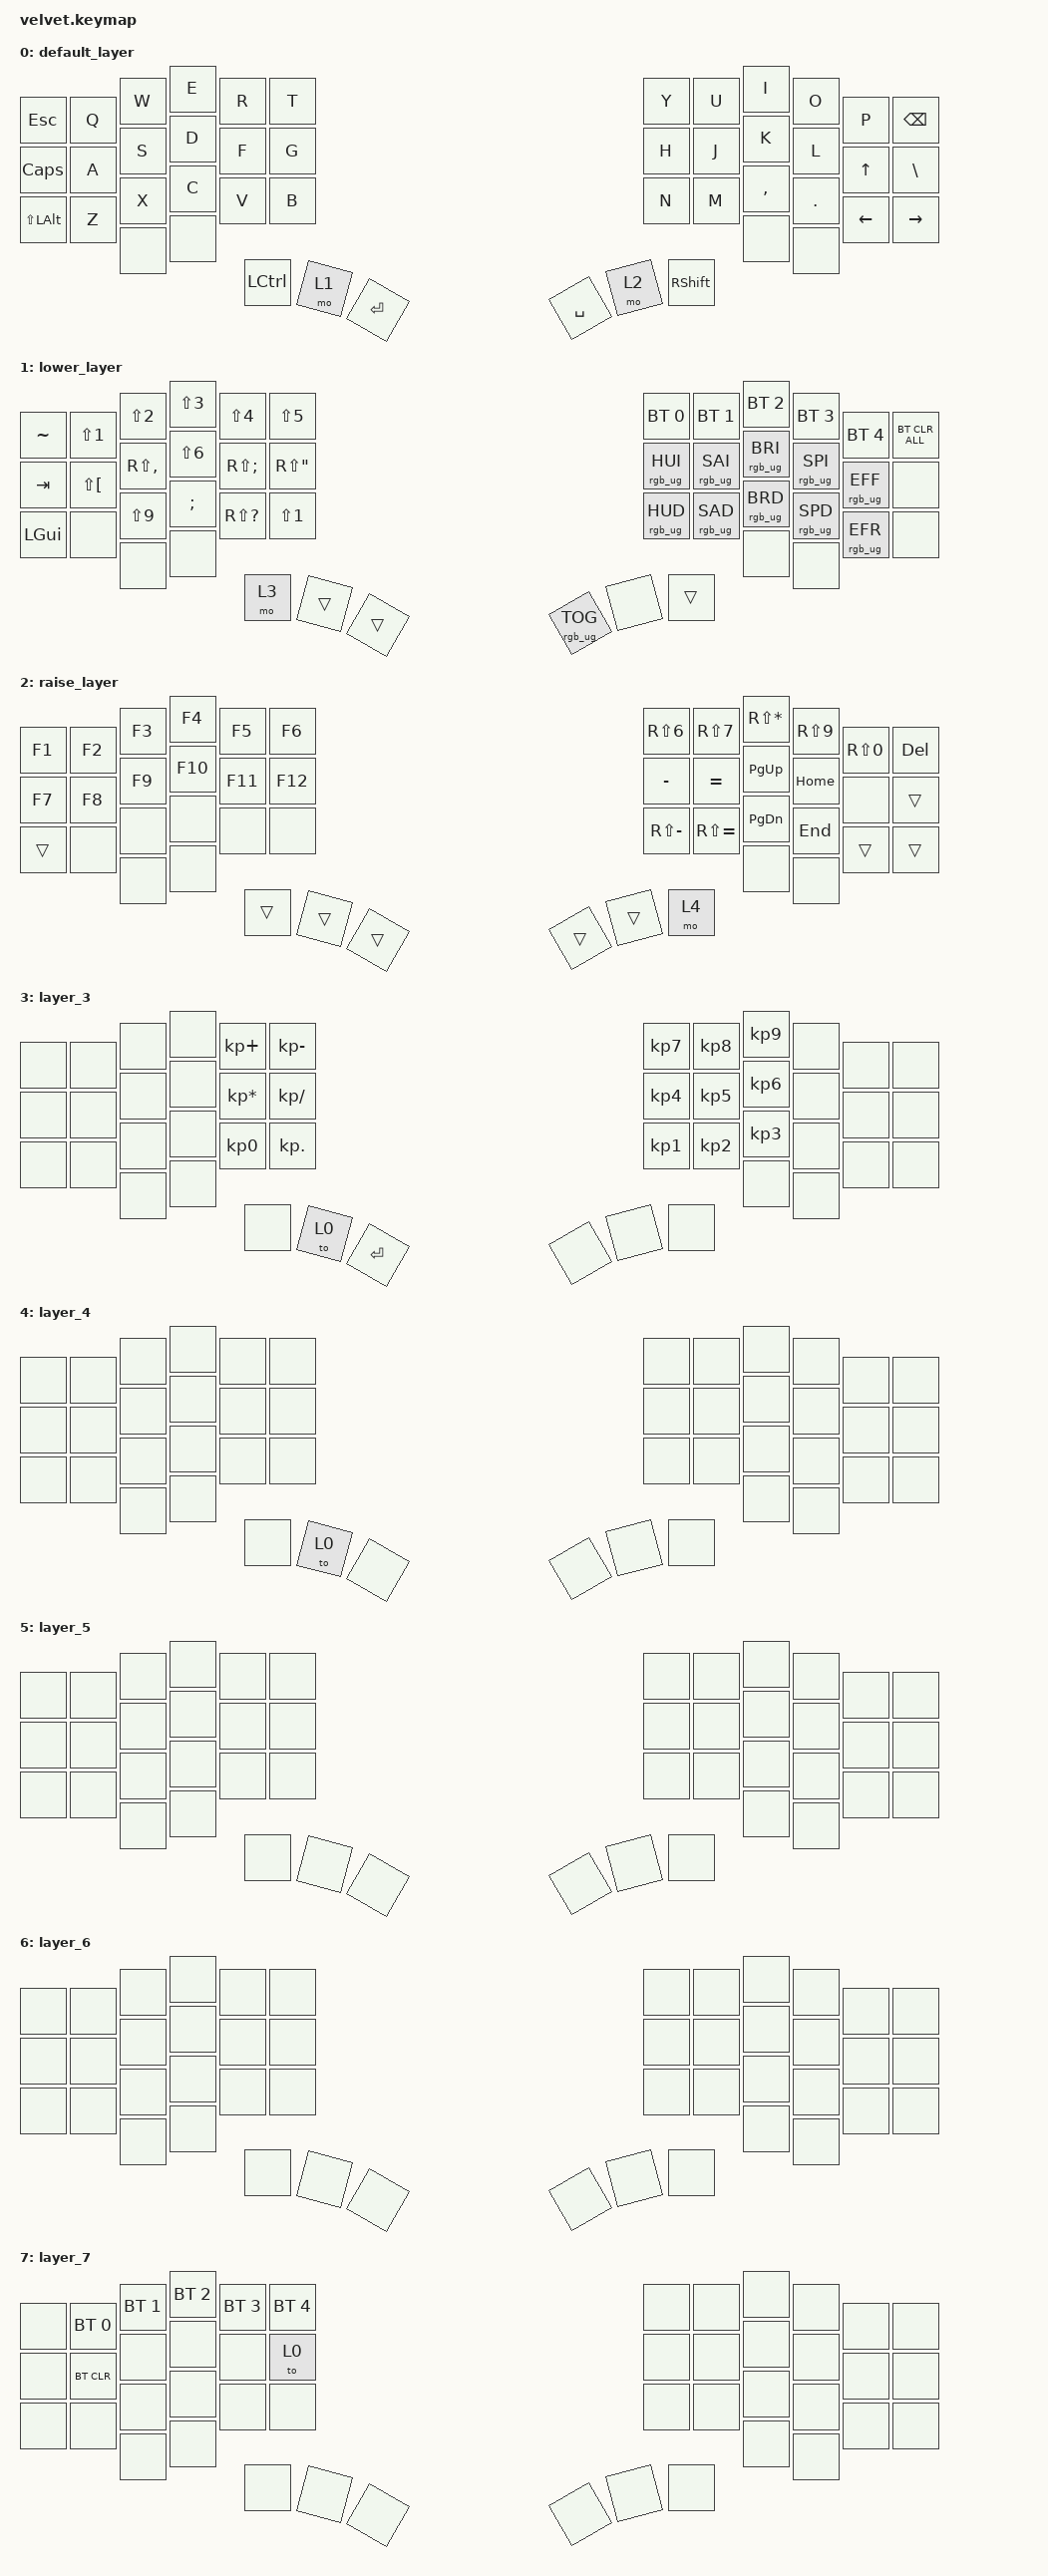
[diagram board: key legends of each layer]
/*
 * Copyright (c) 2020 The ZMK Contributors
 *
 * SPDX-License-Identifier: MIT
 */

#include <behaviors.dtsi>
#include <dt-bindings/zmk/bt.h>
#include <dt-bindings/zmk/keys.h>
#include <dt-bindings/zmk/rgb.h>

&mt {
    tapping-term-ms = <200>;
    flavor = "tap-preferred";
};

&sk {
    release-after-ms = <2000>;
    quick-release;
};

/ {
    combos {
        compatible = "zmk,combos";

        c1 {
            bindings = <&kp N1>;
            key-positions = <4 5>;
        };

        c2 {
            bindings = <&kp NUMBER_2>;
            key-positions = <15 16>;
        };

        c3 {
            bindings = <&kp NUMBER_3>;
            key-positions = <16 17>;
        };

        c4 {
            bindings = <&kp NUMBER_4>;
            key-positions = <27 28>;
        };

        c5 {
            bindings = <&kp N5>;
            key-positions = <28 29>;
        };

        c6 {
            bindings = <&kp NUMBER_6>;
            key-positions = <18 19>;
        };

        c7 {
            bindings = <&kp N7>;
            key-positions = <19 20>;
        };

        c8 {
            bindings = <&kp N8>;
            key-positions = <20 21>;
        };

        c9 {
            bindings = <&kp N9>;
            key-positions = <30 31>;
        };

        c0 {
            bindings = <&kp N0>;
            key-positions = <31 32>;
        };

        cx {
            bindings = <&kp DOWN_ARROW>;
            key-positions = <35 34>;
        };
    };

    behaviors {
        hm: homerow_mods {
            compatible = "zmk,behavior-hold-tap";
            label = "HOMEROW_MODS";
            #binding-cells = <2>;
            tapping-term-ms = <200>;
            quick_tap_ms = <0>;
            flavor = "tap-preferred";
            bindings = <&kp>, <&kp>;

            quick-tap-ms = <180>;
            global-quick-tap;
        };

        ltq: ltq {
            compatible = "zmk,behavior-hold-tap";
            label = "LTQ";
            #binding-cells = <2>;
            tapping-term-ms = <200>;
            flavor = "hold-preferred";
            bindings = <&mo>, <&kp>;

            quick-tap-ms = <180>;
        };

        as: as {
            compatible = "zmk,behavior-hold-tap";
            label = "AUTO_SHIFT";
            bindings = <&kp>, <&kp>;

            #binding-cells = <2>;
            tapping-term-ms = <135>;
            quick-tap-ms = <0>;
            flavor = "tap-preferred";
        };
    };

    macros {
        xiayihang: new_macro {
            compatible = "zmk,behavior-macro";
            #binding-cells = <0>;
            bindings = <&kp RIGHT_ARROW &kp ENTER>;
            label = "NEW_MACRO";
        };

        youxiang: youxiang {
            compatible = "zmk,behavior-macro";
            #binding-cells = <0>;
            bindings = <&kp N8 &kp N9 &kp NUMBER_4 &kp NUMBER_2 &kp NUMBER_4 &kp NUMBER_2 &kp NUMBER_1 &kp N0 &kp N0 &kp Q &kp Q &kp DOT &kp C &kp O &kp M>;
            label = "YOUXIANG";
        };
    };

    keymap {
        compatible = "zmk,keymap";

        default_layer {
            bindings = <
&kp ESC           &kp Q  &kp W  &kp E      &kp R  &kp T      &kp Y      &kp U  &kp I            &kp O    &kp P           &kp BACKSPACE
&kp CAPSLOCK      &kp A  &kp S  &kp D      &kp F  &kp G      &kp H      &kp J  &kp K            &kp L    &kp UP          &kp BACKSLASH
&kp LS(LEFT_ALT)  &kp Z  &kp X  &kp C      &kp V  &kp B      &kp N      &kp M  &kp COMMA        &kp DOT  &kp LEFT_ARROW  &kp RIGHT
                  &none  &none  &kp LCTRL  &mo 1  &kp ENTER  &kp SPACE  &mo 2  &kp RIGHT_SHIFT  &none    &none
            >;
        };

        lower_layer {
            bindings = <
&kp TILDE     &kp LS(NUMBER_1)      &kp LS(NUMBER_2)  &kp LS(NUMBER_3)  &kp LS(NUMBER_4)  &kp LS(N5)             &bt BT_SEL 0     &bt BT_SEL 1     &bt BT_SEL 2     &bt BT_SEL 3     &bt BT_SEL 4     &bt BT_CLR_ALL
&kp TAB       &kp LS(LEFT_BRACKET)  &kp RS(COMMA)     &kp LS(NUMBER_6)  &kp RS(SEMI)      &kp RS(DOUBLE_QUOTES)  &rgb_ug RGB_HUI  &rgb_ug RGB_SAI  &rgb_ug RGB_BRI  &rgb_ug RGB_SPI  &rgb_ug RGB_EFF  &none
&kp LEFT_GUI  &none                 &kp LS(N9)        &kp SEMICOLON     &kp RS(QUESTION)  &kp LS(NUMBER_1)       &rgb_ug RGB_HUD  &rgb_ug RGB_SAD  &rgb_ug RGB_BRD  &rgb_ug RGB_SPD  &rgb_ug RGB_EFR  &none
              &none                 &none             &mo 3             &trans            &trans                 &rgb_ug RGB_TOG  &none            &trans           &none            &none
            >;
        };

        raise_layer {
            bindings = <
&kp F1  &kp F2  &kp F3  &kp F4   &kp F5   &kp F6   &kp RS(NUMBER_6)  &kp RS(N7)     &kp RS(ASTERISK)  &kp RS(N9)  &kp RS(N0)  &kp DEL
&kp F7  &kp F8  &kp F9  &kp F10  &kp F11  &kp F12  &kp MINUS         &kp EQUAL      &kp PG_UP         &kp HOME    &none       &trans
&trans  &none   &none   &none    &none    &none    &kp RS(MINUS)     &kp RS(EQUAL)  &kp PAGE_DOWN     &kp END     &trans      &trans
        &none   &none   &trans   &trans   &trans   &trans            &trans         &mo 4             &none       &none
            >;
        };

        layer_3 {
            bindings = <
&none  &none  &none  &none  &kp KP_PLUS      &kp KP_SUBTRACT  &kp KP_NUMBER_7  &kp KP_NUMBER_8  &kp KP_NUMBER_9  &none  &none  &none
&none  &none  &none  &none  &kp KP_MULTIPLY  &kp KP_DIVIDE    &kp KP_NUMBER_4  &kp KP_NUMBER_5  &kp KP_NUMBER_6  &none  &none  &none
&none  &none  &none  &none  &kp KP_NUMBER_0  &kp KP_DOT       &kp KP_NUMBER_1  &kp KP_NUMBER_2  &kp KP_NUMBER_3  &none  &none  &none
       &none  &none  &none  &to 0            &kp ENTER        &none            &none            &none            &none  &none
            >;
        };

        layer_4 {
            bindings = <
&none  &none  &none  &none  &none  &none  &none  &none  &none  &none  &none  &none
&none  &none  &none  &none  &none  &none  &none  &none  &none  &none  &none  &none
&none  &none  &none  &none  &none  &none  &none  &none  &none  &none  &none  &none
       &none  &none  &none  &to 0  &none  &none  &none  &none  &none  &none
            >;
        };

        layer_5 {
            bindings = <
&none  &none  &none  &none  &none  &none  &none  &none  &none  &none  &none  &none
&none  &none  &none  &none  &none  &none  &none  &none  &none  &none  &none  &none
&none  &none  &none  &none  &none  &none  &none  &none  &none  &none  &none  &none
       &none  &none  &none  &none  &none  &none  &none  &none  &none  &none
            >;
        };

        layer_6 {
            bindings = <
&none  &none  &none  &none  &none  &none  &none  &none  &none  &none  &none  &none
&none  &none  &none  &none  &none  &none  &none  &none  &none  &none  &none  &none
&none  &none  &none  &none  &none  &none  &none  &none  &none  &none  &none  &none
       &none  &none  &none  &none  &none  &none  &none  &none  &none  &none
            >;
        };

        layer_7 {
            bindings = <
&none  &bt BT_SEL 0  &bt BT_SEL 1  &bt BT_SEL 2  &bt BT_SEL 3  &bt BT_SEL 4  &none  &none  &none  &none  &none  &none
&none  &bt BT_CLR    &none         &none         &none         &to 0         &none  &none  &none  &none  &none  &none
&none  &none         &none         &none         &none         &none         &none  &none  &none  &none  &none  &none
       &none         &none         &none         &none         &none         &none  &none  &none  &none  &none
            >;
        };
    };
};
